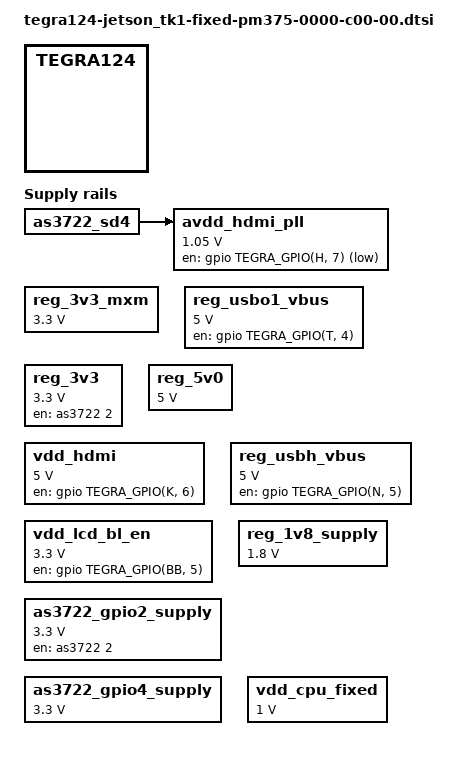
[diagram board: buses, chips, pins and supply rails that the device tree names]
#include <dt-bindings/gpio/tegra-gpio.h>

/ {
	regulators {
		compatible = "simple-bus";
		#address-cells = <1>;
		#size-cells = <0>;

		avdd_hdmi_pll: regulator@0 {
			compatible = "regulator-fixed-sync";
			reg = <0>;
			regulator-name = "+V1.05_AVDD_HDMI_PLL";
			regulator-min-microvolt = <1050000>;
			regulator-max-microvolt = <1050000>;
			gpio = <&gpio TEGRA_GPIO(H, 7) 0>;
			vin-supply = <&as3722_sd4>;
			always-on;
			consumers {
				c1 {
					regulator-consumer-supply = "avdd_hdmi_pll";
					regulator-consumer-device = "tegradc.1";
				};
				c2 {
					regulator-consumer-supply = "avdd_hdmi_pll";
					regulator-consumer-device = "tegradc.0";
				};
			};
		};

		reg_3v3_mxm: regulator@1 {
			compatible = "regulator-fixed";
			reg = <1>;
			regulator-name = "+V3.3_MXM";
			regulator-min-microvolt = <3300000>;
			regulator-max-microvolt = <3300000>;

			consumers {
				c1 {
					regulator-consumer-supply = "vdd_3v3_emmc";
				};
				c2 {
					regulator-consumer-supply = "vdd_com_3v3";
				};
			};
		};

		reg_usbo1_vbus: regulator@4 {
			compatible = "regulator-fixed-sync";
			reg = <4>;
			regulator-name = "VCC_USBO1";
			regulator-min-microvolt = <5000000>;
			regulator-max-microvolt = <5000000>;
			gpio = <&gpio TEGRA_GPIO(T, 4) 0>;
			enable-active-high;

			consumers {
				c1 {
					regulator-consumer-supply = "usb_vbus";
					regulator-consumer-device = "tegra-ehci.0";
				};
				c2 {
					regulator-consumer-supply = "usb_vbus";
					regulator-consumer-device = "tegra-otg";
				};
				c3 {
					regulator-consumer-supply = "usb_vbus0";
					regulator-consumer-device = "tegra-xhci";
				};
			};
		};

		reg_3v3: regulator@2 {
			compatible = "regulator-fixed-sync";
			reg = <2>;
			regulator-name = "+V3.3";
			regulator-min-microvolt = <3300000>;
			regulator-max-microvolt = <3300000>;
			regulator-always-on;
			regulator-boot-on;
			/* PWR_EN_+V3.3 */
			gpio = <&as3722 2 0>;
			enable-active-high;

			consumers {
				c19 {
					regulator-consumer-supply = "avdd_usb";
					regulator-consumer-device = "tegra-udc.0";
				};
				c20 {
					regulator-consumer-supply = "avdd_usb";
					regulator-consumer-device = "tegra-ehci.0";
				};
				c21 {
					regulator-consumer-supply = "avdd_usb";
					regulator-consumer-device = "tegra-ehci.1";
				};
				c22 {
					regulator-consumer-supply = "avdd_usb";
					regulator-consumer-device = "tegra-ehci.2";
				};
				c23 {
					regulator-consumer-supply = "hvdd_usb";
					regulator-consumer-device = "tegra-xhci";
				};
				c24 {
					regulator-consumer-supply = "vddio_hv";
					regulator-consumer-device = "tegradc.1";
				};
				c25 {
					regulator-consumer-supply = "pwrdet_hv";
				};
				c26 {
					regulator-consumer-supply = "hvdd_sata";
				};
				c1 {
					regulator-consumer-supply = "hvdd_pex";
					regulator-consumer-device = "tegra-pcie";
				};
				c2 {
					regulator-consumer-supply = "hvdd_pex_pll";
					regulator-consumer-device = "tegra-pcie";
				};
				c3 {
					regulator-consumer-supply = "vdd_sys_cam_3v3";
				};
				c4 {
					regulator-consumer-supply = "micvdd";
					regulator-consumer-device = "tegra-snd-rt5645.0";
				};
				c5 {
					regulator-consumer-supply = "micvdd";
					regulator-consumer-device = "tegra-snd-rt5639.0";
				};
				c6 {
					regulator-consumer-supply = "vdd_gps_3v3";
				};
				c7 {
					regulator-consumer-supply = "vdd_nfc_3v3";
				};
				c8 {
					regulator-consumer-supply = "vdd_3v3_sensor";
				};
				c9 {
					regulator-consumer-supply = "vdd_kp_3v3";
				};
				c10 {
					regulator-consumer-supply = "vdd_tp_3v3";
				};
				c11 {
					regulator-consumer-supply = "vdd_dtv_3v3";
				};
				c12 {
					regulator-consumer-supply = "vdd_modem_3v3";
				};
				c13 {
					regulator-consumer-supply = "vdd";
					regulator-consumer-device = "0-004c";
				};
				c14 {
					regulator-consumer-supply = "vdd";
					regulator-consumer-device = "0-0048";
				};
				c15 {
					regulator-consumer-supply = "vdd";
					regulator-consumer-device = "0-0069";
				};
				c16 {
					regulator-consumer-supply = "vdd";
					regulator-consumer-device = "0-000c";
				};
				c17 {
					regulator-consumer-supply = "vdd";
					regulator-consumer-device = "0-0077";
				};
				c18 {
					regulator-consumer-supply = "vin";
					regulator-consumer-device = "2-0030";
				};
			};
		};
		reg_5v0: regulator@3 {
			compatible = "regulator-fixed-sync";
			reg = <3>;
			regulator-name = "5V_SW";
			regulator-min-microvolt = <5000000>;
			regulator-max-microvolt = <5000000>;

			consumers {
				c1 {
					regulator-consumer-supply = "vdd_hdmi_5v0";
					regulator-consumer-device = "tegradc.1";
				};
				c2 {
					regulator-consumer-supply = "vdd_hdmi_5v0";
					regulator-consumer-device = "tegradc.0";
				};
				/* c3 { */
					/* regulator-consumer-supply = "vdd_5v0_sensor"; */
				/* }; */
			};
		};

		vdd_hdmi: regulator@8 {
			compatible = "regulator-fixed-sync";
			reg = <8>;
			regulator-name = "vdd-hdmi";
			regulator-min-microvolt = <5000000>;
			regulator-max-microvolt = <5000000>;
			gpio = <&gpio TEGRA_GPIO(K, 6) 0>;
			enable-active-high;
			startup-delay-us = <5000>;

			consumers {
				c1 {
					regulator-consumer-supply = "vdd_hdmi";
					regulator-consumer-device = "tegradc.1";
				};
				c2 {
					regulator-consumer-supply = "vdd_hdmi";
					regulator-consumer-device = "tegradc.0";
				};
			};
		};

		/* USBH_EN */
		reg_usbh_vbus: regulator@5 {
			compatible = "regulator-fixed-sync";
			reg = <5>;
			regulator-name = "VCC_USBH(2A|2C|2D|3|4)";
			regulator-min-microvolt = <5000000>;
			regulator-max-microvolt = <5000000>;
			gpio = <&gpio TEGRA_GPIO(N, 5) 0>;
			enable-active-high;

			consumers {
				c1 {
					regulator-consumer-supply = "usb_vbus";
					regulator-consumer-device = "tegra-ehci.2";
				};
				c2 {
					regulator-consumer-supply = "usb_vbus2";
					regulator-consumer-device = "tegra-xhci";
				};
				c3 {
					regulator-consumer-supply = "usb_vbus";
					regulator-consumer-device = "tegra-ehci.1";
				};
				c4 {
					regulator-consumer-supply = "usb_vbus1";
					regulator-consumer-device = "tegra-xhci";
				};
			};
		};

		vdd_lcd_bl_en: regulator@6 {
			compatible = "regulator-fixed-sync";
			reg = <6>;
			regulator-name = "BKL1_ON";
			regulator-min-microvolt = <3300000>;
			regulator-max-microvolt = <3300000>;
			/* Apalis BKL1_ON */
			gpio = <&gpio TEGRA_GPIO(BB, 5) 0>;
			enable-active-high;

			consumers {
				/* c2 { */
					/* regulator-consumer-supply = "vdd_lcd_bl"; */
				/* }; */
				c1 {
					regulator-consumer-supply = "vdd_lcd_bl_en";
				};
			};
		};


		reg_1v8_supply: regulator@10 {
			compatible = "regulator-fixed-sync";
			reg = <10>;
			regulator-name = "reg-1v8-supply";
			regulator-min-microvolt = <1800000>;
			regulator-max-microvolt = <1800000>;

			consumers {
				c1 {
					regulator-consumer-supply = "avdd_lvds0_pll";
				};
				c2 {
					regulator-consumer-supply = "dvdd_lcd";
				};
				c3 {
					regulator-consumer-supply = "vdd_ds_1v8";
				};
				c4 {
					regulator-consumer-supply = "avdd";
					regulator-consumer-device = "tegra-snd-rt5645.0";
				};
				c5 {
					regulator-consumer-supply = "dbvdd";
					regulator-consumer-device = "tegra-snd-rt5645.0";
				};
				c6 {
					regulator-consumer-supply = "avdd";
					regulator-consumer-device = "tegra-snd-rt5639.0";
				};
				c7 {
					regulator-consumer-supply = "dbvdd";
					regulator-consumer-device = "tegra-snd-rt5639.0";
				};
				c8 {
					regulator-consumer-supply = "dmicvdd";
					regulator-consumer-device = "tegra-snd-rt5639.0";
				};
				c9 {
					regulator-consumer-supply = "dmicvdd";
					regulator-consumer-device = "tegra-snd-rt5645.0";
				};
				c10 {
					regulator-consumer-supply = "vdd_1v8b_nfc";
				};
				c11 {
					regulator-consumer-supply = "vdd_1v8_sensor";
				};
				c12 {
					regulator-consumer-supply = "vdd_1v8_sdmmc";
				};
				c13 {
					regulator-consumer-supply = "vdd_kp_1v8";
				};
				c14 {
					regulator-consumer-supply = "vdd_tp_1v8";
				};
				c15 {
					regulator-consumer-supply = "vdd_modem_1v8";
				};
				c16 {
					regulator-consumer-supply = "vdd_1v8b";
					regulator-consumer-device = "0-0048";
				};
				c17 {
					regulator-consumer-supply = "dvdd";
					regulator-consumer-device = "spi0.0";
				};
				c18 {
					regulator-consumer-supply = "vlogic";
					regulator-consumer-device = "0-0069";
				};
				c19 {
					regulator-consumer-supply = "vid";
					regulator-consumer-device = "0-000c";
				};
				c20 {
					regulator-consumer-supply = "vddio";
					regulator-consumer-device = "0-0077";
				};
				c21 {
					regulator-consumer-supply = "vi2c";
					regulator-consumer-device = "2-0030";
				};
				c22 {
					regulator-consumer-supply = "avdd_pll_utmip";
					regulator-consumer-device = "tegra-udc.0";
				};
				c23 {
					regulator-consumer-supply = "avdd_pll_utmip";
					regulator-consumer-device = "tegra-ehci.0";
				};
				c24 {
					regulator-consumer-supply = "avdd_pll_utmip";
					regulator-consumer-device = "tegra-ehci.1";
				};
				c25 {
					regulator-consumer-supply = "avdd_pll_utmip";
					regulator-consumer-device = "tegra-ehci.2";
				};
				c26 {
					regulator-consumer-supply = "avdd_pll_utmip";
					regulator-consumer-device = "tegra-xhci";
				};
			};
		};

		as3722_gpio2_supply: regulator@12 {
			compatible = "regulator-fixed-sync";
			reg = <12>;
			regulator-name = "as3722-gpio2-supply";
			/* regulator-name = "+V3.3"; */
			regulator-min-microvolt = <3300000>;
			regulator-max-microvolt = <3300000>;
			gpio = <&as3722 2 0>;
			enable-active-high;
			regulator-boot-on;

			consumers {
			};
		};

		as3722_gpio4_supply: regulator@13 {
			compatible = "regulator-fixed-sync";
			reg = <13>;
			regulator-name = "as3722-gpio4-supply";
			regulator-min-microvolt = <3300000>;
			regulator-max-microvolt = <3300000>;
			/*enable-active-high;
			gpio = <&as3722 4 0>;*/
			always-on;


			consumers {
				c1 {
					regulator-consumer-supply = "avdd_lcd";
				};
			};
		};

		vdd_cpu_fixed: regulator@15 {
			compatible = "regulator-fixed";
			reg = <15>;
			regulator-name = "vdd-cpu-fixed";
			regulator-min-microvolt = <1000000>;
			regulator-max-microvolt = <1000000>;
			regulator-boot-on;
			consumers {
				c0 {
				regulator-consumer-supply = "vdd_cpu_fixed";
				};
			};
		};
	};
};
